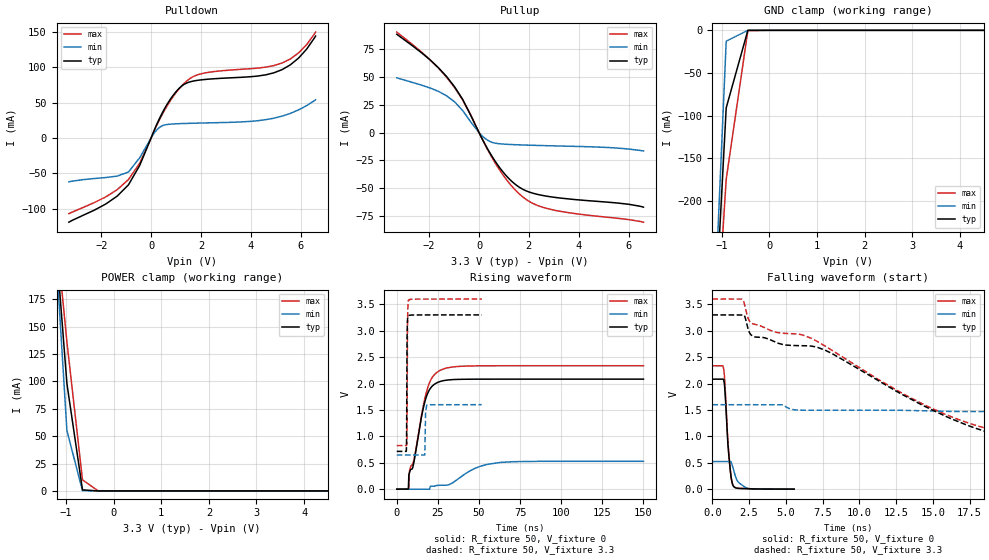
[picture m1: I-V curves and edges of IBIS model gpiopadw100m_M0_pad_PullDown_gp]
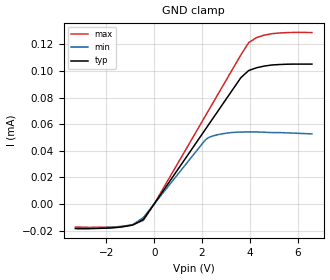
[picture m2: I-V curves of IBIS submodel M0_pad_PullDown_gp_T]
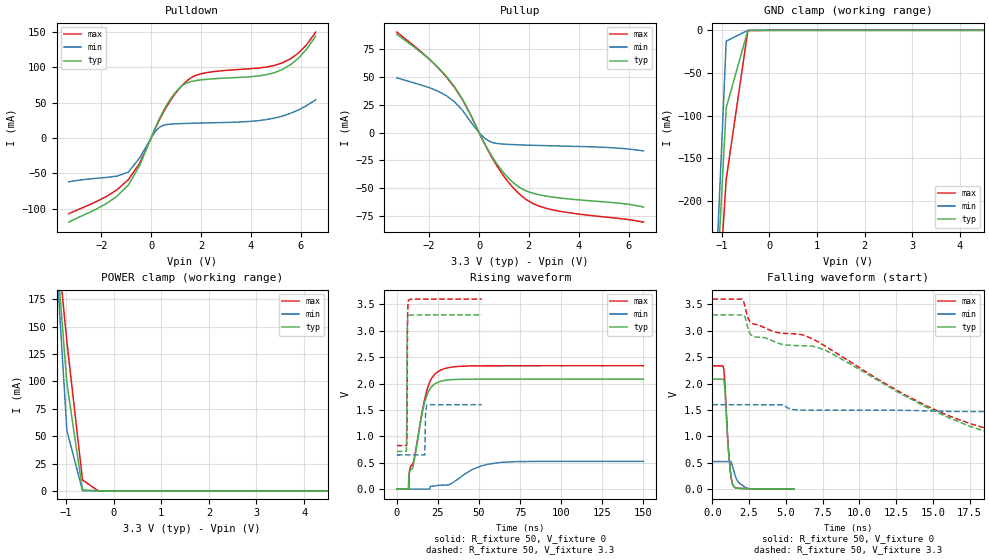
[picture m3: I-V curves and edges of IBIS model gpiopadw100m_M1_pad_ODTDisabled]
|   - ATMEL Microcontrollers -
|   IBIS model for SAM0D20_QFN64
[IBIS Ver]   4.2
[Comment char]  |_char
[File Name]   sam0d20_3m64.ibs
[File Rev]   1.0
[Date]   6-MAY-2013 15:59:13
[Source]   By GENIBIS V3.2b - GENerate chip IBIS model - 29-APR-2013
[Notes]   Property of ATMEL Corporation
[Disclaimer]
                  (C) Copyright ATMEL Nantes 2002-2013
Atmel Nantes makes no warranty for the use of its products, other than
those expressly contained in the Company's standard warranty which is detailed
in Atmel's Terms and Conditions located on the Company's web site. The Company
assumes no responsability for any errors which may appear in this document.
The user is granted this license only to use the IBIS model and is not granted
rights to sell, load, rent, lease or license the IBIS model in whole or in part,
or in modified form to anyone other than user. User may modify the IBIS model
to suit its specific applications but rights to derivative works and such
modifications shall belong to Atmel Nantes.
This IBIS model is provided on an \"AS IS\" basis and Atmel Nantes makes
absolutely no warranty with respect to the information contained herein.
[Copyright]   Copyright (c) 2002-2013 by ATMEL Nantes SA
|   COMPONENT : SAM0D20_QFN64
[Component]   SAM0D20_QFN64
[Manufacturer]  ATMEL Nantes SAS
[Package]
| Package family : QFN
| RLC file   : V1.1
| RLCEDIT tool   : V1.3-2009/04/07
| variable   typ   min   max
R_pkg   94.59m   NA   NA
L_pkg   1.19n   NA   NA
C_pkg   39.70f   NA   NA
[Pin]   signal_name   model_name   R_pin   L_pin   C_pin
|   Real model names   <--->   IBIS model names
|   gpiopadw100m33v1p66k25   gpiopadw100m
|   gpiopadw100m33v1p66k25   gpiopadw100m
|   gpiopadw100m33v1p66k25   gpiopadw100m
|  gpiopadtwifsmw100m33v1p66k25   gpiopadtwifsmw100m
|  gpiopadtwifsmw100m33v1p66k25   gpiopadtwifsmw100m
|  gpiopadtwifsmw100m33v1p66k25   gpiopadtwifsmw100m
|  gpiopadtwifsmw100m33v1p66k25   gpiopadtwifsmw100m
   1   PA00   gpiopadw100m  118.30m   1.49n   40.37f
   2   PA01   gpiopadw100m  107.62m   1.35n   39.55f
   3   PA02   gpiopadw100m  101.70m   1.28n   39.09f
   4   PA03   gpiopadw100m   98.46m   1.24n   38.84f
   5   PB04   gpiopadw100m   92.29m   1.16n   38.36f
   6   PB05   gpiopadw100m   91.49m   1.15n   38.30f
   7   GNDANA   GND   30.10m  383.36p   51.99f
   8   VDDANA   POWER   45.13m  571.19p   45.12f
   9   PB06   gpiopadw100m   88.47m   1.11n   38.06f
   10   PB07   gpiopadw100m   87.12m   1.10n   37.96f
   11   PB08   gpiopadw100m   88.46m   1.11n   38.06f
   12   PB09   gpiopadw100m   88.08m   1.11n   38.03f
   13   PA04   gpiopadw100m   93.33m   1.17n   38.44f
   14   PA05   gpiopadw100m   95.19m   1.20n   38.58f
   15   PA06   gpiopadw100m  103.57m   1.30n   39.23f
   16   PA07   gpiopadw100m  113.75m   1.43n   40.02f
   17   PA08   gpiopadtwifsmw100m  128.25m   1.61n   41.14f
   18   PA09   gpiopadtwifsmw100m  118.43m   1.49n   40.38f
   19   PA10   gpiopadw100m  109.02m   1.37n   39.66f
   20   PA11   gpiopadw100m  101.19m   1.27n   39.05f
   21   VDDIO   POWER   95.42m   1.20n   38.60f
   22   GND   GND   95.16m   1.20n   38.58f
   23   PB10   gpiopadw100m   92.84m   1.17n   38.40f
   24   PB11   gpiopadw100m   93.14m   1.17n   38.43f
   25   PB12   gpiopadtwifsmw100m   93.70m   1.18n   38.47f
   26   PB13   gpiopadtwifsmw100m   94.38m   1.19n   38.52f
   27   PB14   gpiopadw100m   97.95m   1.23n   38.80f
   28   PB15   gpiopadw100m   99.47m   1.25n   38.92f
   29   PA12   gpiopadtwifsmw100m  106.07m   1.33n   39.43f
   30   PA13   gpiopadtwifsmw100m  114.26m   1.43n   40.06f
   31   PA14   gpiopadw100m  121.75m   1.53n   40.64f
   32   PA15   gpiopadw100m  122.64m   1.54n   40.71f
   33   GND   GND  113.75m   1.43n   40.02f
   34   VDDIO   POWER  103.57m   1.30n   39.23f
   35   PA16   gpiopadtwifsmw100m   48.26m  610.20p   46.09f
   36   PA17   gpiopadtwifsmw100m   90.85m   1.14n   38.25f
   37   PA18   gpiopadw100m   86.66m   1.09n   37.92f
   38   PA19   gpiopadw100m   87.98m   1.11n   38.03f
   39   PB16   gpiopadtwifsmw100m   87.55m   1.10n   37.99f
   40   PB17   gpiopadtwifsmw100m   87.68m   1.10n   38.00f
   41   PA20   gpiopadw100m   88.03m   1.11n   38.03f
   42   PA21   gpiopadw100m   88.67m   1.12n   38.08f
   43   PA22   gpiopadtwifsmw100m   90.68m   1.14n   38.24f
   44   PA23   gpiopadtwifsmw100m   91.15m   1.15n   38.27f
   45   PA24   gpiopadw100m   97.43m   1.22n   38.76f
   46   PA25   gpiopadw100m  105.76m   1.33n   39.40f
   47   GND   GND  108.04m   1.36n   39.58f
   48   VDDIO   POWER  118.89m   1.49n   40.42f
   49   PB22   gpiopadw100m  114.50m   1.44n   40.08f
   50   PB23   gpiopadw100m  105.26m   1.32n   39.36f
   51   PA27   gpiopadw100m   98.62m   1.24n   38.85f
   52   RESET_N   gpiopadw100m   93.45m   1.17n   38.45f
   53   PA28   gpiopadw100m   91.05m   1.14n   38.26f
   54   GND   GND   51.50m  650.77p   47.09f
   55   VDDCORE   POWER   49.62m  627.22p   46.51f
   56   VDDIO   POWER   48.39m  611.84p   46.12f
   57   PA30   gpiopadw100m   93.89m   1.18n   38.48f
   58   PA31   gpiopadw100m   91.91m   1.16n   38.33f
   59   PB30   gpiopadtwifsmw100m   91.01m   1.14n   38.26f
   60   PB31   gpiopadtwifsmw100m   91.09m   1.15n   38.27f
   61   PB00   gpiopadw100m   93.07m   1.17n   38.42f
   62   PB01   gpiopadw100m   97.97m   1.23n   38.80f
   63   PB02   gpiopadw100m  105.26m   1.32n   39.36f
   64   PB03   gpiopadw100m  115.63m   1.45n   40.17f
|   MODEL SELECTOR : gpiopadtwifsmw100m
[Model Selector]   gpiopadtwifsmw100m
gpiopadtwifsmw100m_M3_pad_twi   twi mode
gpiopadtwifsmw100m_M2_pad_puodt_gpiop   pull up odt
gpiopadtwifsmw100m_M1_pad_noodt_gpiop   odt disabled
gpiopadtwifsmw100m_M0_pad_pdodt_gpiop   pull down odt
|   MODEL SELECTOR : gpiopadw100m
[Model Selector]   gpiopadw100m
gpiopadw100m_M2_pad_PullUp_gpio   Pull Up
gpiopadw100m_M1_pad_ODTDisabled   ODT Disabled
gpiopadw100m_M0_pad_PullDown_gp   Pull Down
| Models and submodels in the file (11): gpiopadw100m_M0_pad_PullDown_gp (I/O), M0_pad_PullDown_gp_T (Dynamic_clamp), gpiopadw100m_M1_pad_ODTDisabled (I/O), gpiopadw100m_M2_pad_PullUp_gpio (I/O), M2_pad_PullUp_gpio_T (Dynamic_clamp), gpiopadtwifsmw100m_M0_pad_pdodt_gpiop (I/O), M0_pad_pdodt_gpiop_T (Dynamic_clamp), gpiopadtwifsmw100m_M1_pad_noodt_gpiop (I/O), gpiopadtwifsmw100m_M2_pad_puodt_gpiop (I/O), M2_pad_puodt_gpiop_T (Dynamic_clamp), gpiopadtwifsmw100m_M3_pad_twi (I/O_open_sink)
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|   MODEL : gpiopadw100m_M0_pad_PullDown_gp
[Model] gpiopadw100m_M0_pad_PullDown_gp
Model_type I/O
Vinl  =  0.99
Vinh  =  2.31
Vmeas =  1.650
| Capacitance   typ   min   max
C_comp   1.24002p   1.23763p   1.27582p
| Variables   typ   min   max
[GND Clamp Reference]   0   0   0
[POWER Clamp Reference]   3.3   1.6   3.6
[Pulldown Reference]   0   0   0
[Pullup Reference]   3.3   1.6   3.6
[Temperature Range]   25   -40   105
[Voltage Range]   3.3   1.6   3.6
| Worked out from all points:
|   slope of the pulldown table from 0 to 0.495 V, typ, clamps not added: 12.9 ohm
|   slope of the pullup table from 0 to 0.495 V, typ, clamps not added: 24.3 ohm
|   falling waveform, R_fixture 50, V_fixture 0: 20-80 % time 299ps typ, 492ps min, 300ps max; typ from 2.08 V to 0.001 V
|   falling waveform, R_fixture 50, V_fixture 3.3: 20-80 % time 12.8ns typ, 35ns min, 12.5ns max; typ from 3.3 V to 0.715 V
|   rising waveform, R_fixture 50, V_fixture 0: 20-80 % time 7.4ns typ, 16.7ns min, 8.69ns max; typ from 0 V to 2.08 V
|   rising waveform, R_fixture 50, V_fixture 3.3: 20-80 % time 217ps typ, 319ps min, 221ps max; typ from 0.715 V to 3.3 V
[GND Clamp]
| Voltage   I(typ)   I(min)   I(max)
-3.3V     -2.634A    -3.19A     -2.302A
-1.364V   -570.8mA   -594.8mA   -573.1mA
-909.1mV  -90.85mA   -12.72mA   -174.6mA
-454.5mV  -20.67uA   -222.6nA   -356.4uA
6.6V      0A         0A         0A
[POWER Clamp]
| Voltage   I(typ)   I(min)   I(max)
-3.3V     1.751A     2.103A     1.493A
-1.309V   280.3mA    286mA      281.7mA
-981.8mV  98.06mA    55.04mA    136mA
-654.5mV  963uA      216.9uA    10.07mA
-327.3mV  1.354uA    8.417nA    98.06uA
6.6V      0A         0A         0A
[Pulldown]
| Voltage   I(typ)   I(min)   I(max)
-3.3V     -119mA     -61.98mA   -107mA
-1.818V   -93.33mA   -55.91mA   -83.28mA
-909.1mV  -66.28mA   -48.18mA   -58.8mA
-454.5mV  -38.59mA   -27.85mA   -35.52mA
309.4mV   25.56mA    14.14mA    23.9mA
773.4mV   54.8mA     19.53mA    52.8mA
1.238V    73.69mA    20.38mA    73.94mA
1.598V    79.67mA    20.77mA    84.92mA
2.062V    82.36mA    21.18mA    91.19mA
4.936V    92.21mA    28.04mA    102.4mA
5.918V    113mA      39.7mA     120.2mA
6.6V      144.1mA    54mA       149.7mA
[Pullup]
| Voltage   I(typ)   I(min)   I(max)
-3.3V     88.24mA    49.15mA    90.19mA
-1.964V   65.21mA    40.03mA    65.35mA
-981.8mV  41.15mA    27.61mA    40.42mA
-654.5mV  29.72mA    19.7mA     29.25mA
-327.3mV  15.24mA    9.418mA    15.62mA
51.56mV   -2.336mA   -1.279mA   -2.314mA
360.9mV   -15.31mA   -7.05mA    -16.02mA
1.083V    -38.48mA   -10.47mA   -41.7mA
1.805V    -51.42mA   -11.17mA   -58.57mA
2.32V     -55.33mA   -11.52mA   -65.17mA
3.042V    -58.15mA   -11.95mA   -69.75mA
6.6V      -66.94mA   -16.45mA   -80.43mA
[Ramp]
dV/dt_r   1.24997/7.40251n  0.314091/16.5147n  1.40232/8.68884n
dV/dt_f   1.55089/12.8345n  0.573997/35.0183n  1.66518/12.5246n
R_load = 50
[Falling Waveform]
R_fixture = 50
V_fixture = 0
V_fixture_min = 0
V_fixture_max = 0
| Time   V(typ)   V(min)   V(max)
0s        2.083V     523.3mV    2.337V
766.8ps   2.071V     523.3mV    2.283V
859.1ps   1.854V     523.3mV    1.98V
1.016ns   1.031V     523.3mV    1.086V
1.166ns   507.3mV    523.3mV    511.5mV
1.301ns   182.1mV    499mV      180.2mV
1.456ns   49.46mV    351.4mV    51.8mV
1.737ns   16.79mV    143.7mV    17.7mV
2.377ns   11.46mV    15.09mV    11.25mV
5.563ns   974.4uV    463.6uV    868.6uV
[Falling Waveform]
R_fixture = 50
V_fixture = 3.3
V_fixture_min = 1.6
V_fixture_max = 3.6
| Time   V(typ)   V(min)   V(max)
0s        3.3V       1.6V       3.6V
2.025ns   3.299V     1.599V     3.599V
2.467ns   3.006V     1.599V     3.213V
2.726ns   2.9V       1.599V     3.135V
7.623ns   2.639V     1.496V     2.718V
16.56ns   1.298V     1.471V     1.337V
19.86ns   995.9mV    1.47V      1.078V
23.59ns   851.1mV    1.469V     959.9mV
75.53ns   715.4mV    777.3mV    825.1mV
150ns     715mV      643.3mV    824.6mV
[Rising Waveform]
R_fixture = 50
V_fixture = 0
V_fixture_min = 0
V_fixture_max = 0
| Time   V(typ)   V(min)   V(max)
0s        2.426nV    1.414nV    231.1nV
7.015ns   1.373mV    1.414nV    231.1nV
7.273ns   249.7mV    1.414nV    1.092mV
7.688ns   306.6mV    1.414nV    339.6mV
10.15ns   466.4mV    1.414nV    517.8mV
17.83ns   1.736V     1.414nV    1.816V
21.13ns   1.938V     54.42mV    2.096V
26.11ns   2.036V     74.09mV    2.247V
63.28ns   2.083V     507.2mV    2.337V
150ns     2.083V     527.1mV    2.337V
[Rising Waveform]
R_fixture = 50
V_fixture = 3.3
V_fixture_min = 1.6
V_fixture_max = 3.6
| Time   V(typ)   V(min)   V(max)
0s        715.2mV    647.1mV    824.7mV
5.764ns   715.9mV    647.1mV    824.7mV
6.051ns   1.67V      647.1mV    842mV
6.232ns   2.824V     647.1mV    1.111V
6.51ns    3.197V     647.1mV    3.089V
7.104ns   3.28V      647.1mV    3.577V
17.01ns   3.299V     647.5mV    3.599V
17.47ns   3.299V     1.414V     3.599V
18.37ns   3.3V       1.593V     3.599V
51.69ns   3.3V       1.6V       3.6V
[Add Submodel]
| Submodel Name Mode
M0_pad_PullDown_gp_T Non-Driving
| Submodel
[Submodel]  M0_pad_PullDown_gp_T
Submodel_type Dynamic_clamp
[GND Clamp]
| Voltage   I(typ)   I(min)   I(max)
-3.3V     -18.53uA   -18.06uA   -17.4uA
-1.818V   -18.12uA   -17.64uA   -17.46uA
-909.1mV  -15.94uA   -15.68uA   -15.74uA
-454.5mV  -11.7uA    -10.25uA   -12.4uA
0V        13.22pA    6.228pA    323.5pA
2.166V    56.71uA    48.48uA    66.94uA
2.681V    70.21uA    52.14uA    82.88uA
3.627V    94.95uA    54.06uA    112.1uA
3.955V    100.3uA    54.12uA    121.3uA
4.282V    102.4uA    54.12uA    125.1uA
4.936V    104.5uA    53.64uA    128uA
6.6V      105.1uA    52.67uA    128.9uA
|   MODEL : gpiopadw100m_M1_pad_ODTDisabled
[Model] gpiopadw100m_M1_pad_ODTDisabled
Model_type I/O
Vinl  =  0.99
Vinh  =  2.31
Vmeas =  1.650
| Capacitance   typ   min   max
C_comp   1.24002p   1.23763p   1.27582p
| Variables   typ   min   max
[GND Clamp Reference]   0   0   0
[POWER Clamp Reference]   3.3   1.6   3.6
[Pulldown Reference]   0   0   0
[Pullup Reference]   3.3   1.6   3.6
[Temperature Range]   25   -40   105
[Voltage Range]   3.3   1.6   3.6
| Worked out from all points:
|   slope of the pulldown table from 0 to 0.495 V, typ, clamps not added: 12.9 ohm
|   slope of the pullup table from 0 to 0.495 V, typ, clamps not added: 24.3 ohm
|   falling waveform, R_fixture 50, V_fixture 0: 20-80 % time 299ps typ, 492ps min, 300ps max; typ from 2.08 V to 0.001 V
|   falling waveform, R_fixture 50, V_fixture 3.3: 20-80 % time 12.8ns typ, 35ns min, 12.5ns max; typ from 3.3 V to 0.715 V
|   rising waveform, R_fixture 50, V_fixture 0: 20-80 % time 7.4ns typ, 16.7ns min, 8.69ns max; typ from 0 V to 2.08 V
|   rising waveform, R_fixture 50, V_fixture 3.3: 20-80 % time 217ps typ, 319ps min, 221ps max; typ from 0.715 V to 3.3 V
[GND Clamp]
| Voltage   I(typ)   I(min)   I(max)
-3.3V     -2.634A    -3.19A     -2.302A
-1.364V   -570.8mA   -594.8mA   -573.1mA
-909.1mV  -90.85mA   -12.72mA   -174.6mA
-454.5mV  -20.67uA   -222.6nA   -356.4uA
6.6V      0A         0A         0A
[POWER Clamp]
| Voltage   I(typ)   I(min)   I(max)
-3.3V     1.751A     2.103A     1.493A
-1.309V   280.3mA    286mA      281.7mA
-981.8mV  98.06mA    55.04mA    136mA
-654.5mV  963uA      216.9uA    10.07mA
-327.3mV  1.354uA    8.417nA    98.06uA
6.6V      0A         0A         0A
[Pulldown]
| Voltage   I(typ)   I(min)   I(max)
-3.3V     -119mA     -61.98mA   -107mA
-1.818V   -93.33mA   -55.91mA   -83.28mA
-909.1mV  -66.28mA   -48.18mA   -58.8mA
-454.5mV  -38.59mA   -27.85mA   -35.52mA
309.4mV   25.56mA    14.14mA    23.9mA
773.4mV   54.8mA     19.53mA    52.8mA
1.238V    73.69mA    20.38mA    73.94mA
1.598V    79.67mA    20.77mA    84.92mA
2.062V    82.36mA    21.18mA    91.19mA
4.936V    92.21mA    28.04mA    102.4mA
5.918V    113mA      39.7mA     120.2mA
6.6V      144.1mA    54mA       149.7mA
[Pullup]
| Voltage   I(typ)   I(min)   I(max)
-3.3V     88.24mA    49.15mA    90.19mA
-1.964V   65.21mA    40.03mA    65.35mA
-981.8mV  41.15mA    27.61mA    40.42mA
-654.5mV  29.72mA    19.7mA     29.25mA
-327.3mV  15.24mA    9.418mA    15.62mA
51.56mV   -2.336mA   -1.279mA   -2.314mA
360.9mV   -15.31mA   -7.05mA    -16.02mA
1.083V    -38.48mA   -10.47mA   -41.7mA
1.805V    -51.42mA   -11.17mA   -58.57mA
2.32V     -55.33mA   -11.52mA   -65.17mA
3.042V    -58.15mA   -11.95mA   -69.75mA
6.6V      -66.94mA   -16.45mA   -80.43mA
[Ramp]
dV/dt_r   1.24997/7.40251n  0.314091/16.5147n  1.40232/8.68884n
dV/dt_f   1.55089/12.8345n  0.573997/35.0183n  1.66518/12.5246n
R_load = 50
[Falling Waveform]
R_fixture = 50
V_fixture = 0
V_fixture_min = 0
V_fixture_max = 0
| Time   V(typ)   V(min)   V(max)
0s        2.083V     523.3mV    2.337V
766.8ps   2.071V     523.3mV    2.283V
859.1ps   1.854V     523.3mV    1.98V
1.016ns   1.031V     523.3mV    1.086V
1.166ns   507.3mV    523.3mV    511.5mV
1.301ns   182.1mV    499mV      180.2mV
1.456ns   49.46mV    351.4mV    51.8mV
1.737ns   16.79mV    143.7mV    17.7mV
2.377ns   11.46mV    15.09mV    11.25mV
5.563ns   974.4uV    463.6uV    868.6uV
[Falling Waveform]
R_fixture = 50
V_fixture = 3.3
V_fixture_min = 1.6
V_fixture_max = 3.6
| Time   V(typ)   V(min)   V(max)
0s        3.3V       1.6V       3.6V
2.025ns   3.299V     1.599V     3.599V
2.467ns   3.006V     1.599V     3.213V
2.726ns   2.9V       1.599V     3.135V
7.623ns   2.639V     1.496V     2.718V
16.56ns   1.298V     1.471V     1.337V
19.86ns   995.9mV    1.47V      1.078V
23.59ns   851.1mV    1.469V     959.9mV
75.53ns   715.4mV    777.3mV    825.1mV
150ns     715mV      643.3mV    824.6mV
[Rising Waveform]
R_fixture = 50
V_fixture = 0
V_fixture_min = 0
V_fixture_max = 0
| Time   V(typ)   V(min)   V(max)
0s        2.426nV    1.414nV    231.1nV
7.015ns   1.373mV    1.414nV    231.1nV
7.273ns   249.7mV    1.414nV    1.092mV
7.688ns   306.6mV    1.414nV    339.6mV
10.15ns   466.4mV    1.414nV    517.8mV
17.83ns   1.736V     1.414nV    1.816V
21.13ns   1.938V     54.42mV    2.096V
26.11ns   2.036V     74.09mV    2.247V
63.28ns   2.083V     507.2mV    2.337V
150ns     2.083V     527.1mV    2.337V
[Rising Waveform]
R_fixture = 50
V_fixture = 3.3
V_fixture_min = 1.6
V_fixture_max = 3.6
| Time   V(typ)   V(min)   V(max)
0s        715.2mV    647.1mV    824.7mV
5.764ns   715.9mV    647.1mV    824.7mV
6.051ns   1.67V      647.1mV    842mV
6.232ns   2.824V     647.1mV    1.111V
6.51ns    3.197V     647.1mV    3.089V
7.104ns   3.28V      647.1mV    3.577V
17.01ns   3.299V     647.5mV    3.599V
17.47ns   3.299V     1.414V     3.599V
18.37ns   3.3V       1.593V     3.599V
51.69ns   3.3V       1.6V       3.6V
